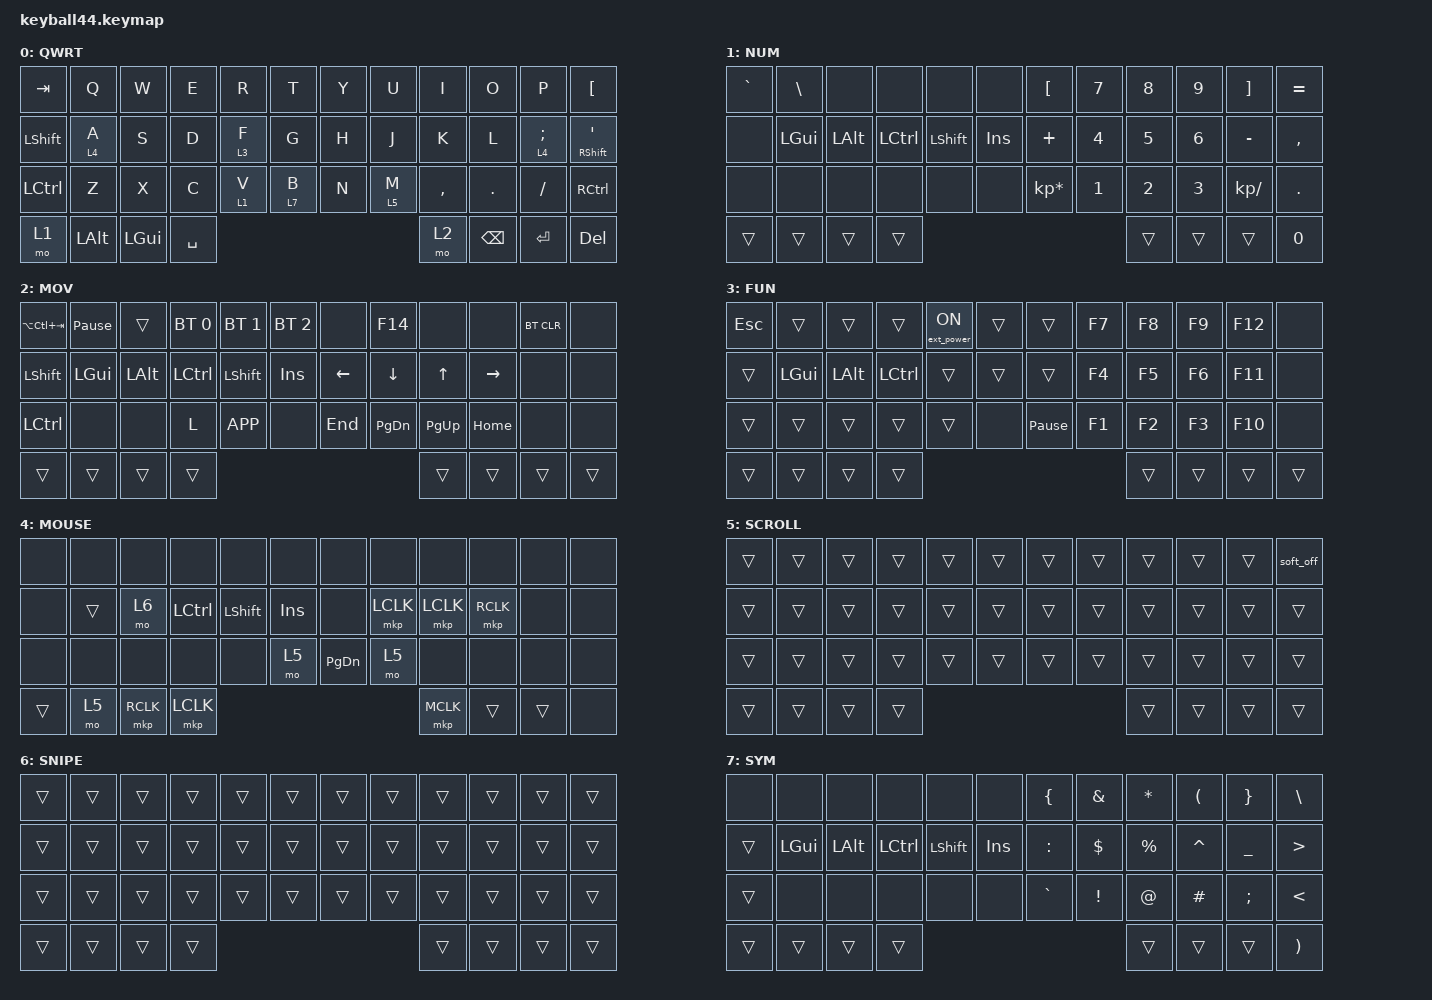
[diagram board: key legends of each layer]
#define DEFAULT 0
#define NUM     1
#define MOV     2
#define FUN     3
#define MOUSE   4
#define SCROLL  5
#define SNIPE   6
#define SYM     7

#include <behaviors/mouse_keys.dtsi>
#include <behaviors.dtsi>
#include <dt-bindings/zmk/bt.h>
#include <dt-bindings/zmk/keys.h>
#include <dt-bindings/zmk/mouse.h>
#include <dt-bindings/zmk/ext_power.h>

&lt {
    tapping-term-ms = <240>;
    flavor = "balanced";
    quick-tap-ms = <150>;
};

&mt {
    tapping-term-ms = <200>;
    flavor = "tap-preferred";
    quick-tap-ms = <150>;
};

&caps_word { continue-list = <UNDERSCORE MINUS>; };

// &soft_off {
//    hold-time-ms = <5000>; // Only turn off it the key is held for 5 seconds or longer.
// };

/ {
    // custom shift using mod-morph 

    behaviors {
        cmqus: comma_question {
            compatible = "zmk,behavior-mod-morph";
            label = "COMMA_QUESTION";
            #binding-cells = <0>;
            bindings = <&kp COMMA>, <&kp QUESTION>;

            mods = <(MOD_LSFT|MOD_RSFT)>;
        };

        dtsmi: dot_semi {
            compatible = "zmk,behavior-mod-morph";
            label = "DOT_SEMI";
            #binding-cells = <0>;
            bindings = <&kp DOT>, <&kp SEMI>;

            mods = <(MOD_LSFT|MOD_RSFT)>;
        };
    };

    keymap {
        compatible = "zmk,keymap";

        default_layer {
            label = "QWRT";
            bindings = <
&kp TAB      &kp Q     &kp W         &kp E        &kp R      &kp T                 &kp Y            &kp U  &kp I      &kp O    &kp P      &kp LBKT
&kp LEFT_SHIFT       &lt 4 A     &kp S         &kp D        &lt 3 F      &kp G                 &kp H            &kp J  &kp K      &kp L    &lt 4 SEMI   &mt RIGHT_SHIFT SQT
&kp LCTRL  &kp Z     &kp X         &kp C        &lt 1 V      &lt 7 B                 &kp N            &lt 5 M  &kp COMMA  &kp DOT  &kp SLASH  &kp RCTRL
&mo 1     &kp LALT                        &kp LGUI  &kp SPACE  &mo 2            &kp BACKSPACE  &kp ENTER                                        &kp DELETE
            >;
        };

        number_layer {
            label = "NUM";
            bindings = <
&kp GRAVE   &kp BSLH  &none         &none         &none         &none                     &kp LBKT           &kp NUMBER_7  &kp NUMBER_8  &kp NUMBER_9  &kp RBKT  &kp EQUAL
&none   &kp LGUI      &kp LALT      &kp LCTRL   &kp LSHIFT     &kp INS                    &kp PLUS           &kp NUMBER_4  &kp NUMBER_5  &kp NUMBER_6  &kp MINUS         &kp COMMA
&none   &none         &none         &none         &none         &none                     &kp KP_MULTIPLY    &kp NUMBER_1  &kp NUMBER_2  &kp NUMBER_3  &kp KP_DIVIDE     &kp DOT
&trans  &trans        &trans        &trans        &trans                          &trans  &trans                                                                &kp NUMBER_0
            >;
        };

        movement_layer {
            label = "MOV";
            bindings = <
&kp LA(LC(TAB)) &kp PAUSE_BREAK &trans   &bt BT_SEL 0  &bt BT_SEL 1  &bt BT_SEL 2        &none      &kp F14       &none       &none      &bt BT_CLR  &none
&kp LSHIFT      &kp LGUI     &kp LALT      &kp LCTRL     &kp LSHIFT    &kp INS               &kp LEFT   &kp DOWN    &kp UP      &kp RIGHT  &none  &none
&kp LCTRL       &none        &none         &kp L         &kp K_APP     &none                 &kp END    &kp PG_DN   &kp PG_UP   &kp HOME   &none  &none
&trans  &trans           &trans        &trans        &trans                         &trans  &trans                                          &trans
            >;
        };

        function_layer {
            label = "FUN";
            bindings = <
&kp ESC  &trans    &trans     &trans    &ext_power EP_ON   &trans             &trans  &kp F7  &kp F8  &kp F9  &kp F12  &none
&trans   &kp LGUI  &kp LALT   &kp LCTRL &trans   &trans             &trans  &kp F4  &kp F5  &kp F6  &kp F11   &none
&trans   &trans    &trans     &trans    &trans   &none              &kp PAUSE_BREAK   &kp F1  &kp F2   &kp F3  &kp F10  &none
&trans   &trans    &trans     &trans    &trans                      &trans  &trans                              &trans
            >;
        };

        mouse_layer {
            label = "MOUSE";
            bindings = <
&none   &none           &none          &none        &none     &none              &none         &none     &none  &none     &none     &none
&none   &trans  &mo 6  &kp LCTRL     &kp LSHIFT    &kp INS                       &none    &mkp LCLK  &mkp LCLK   &mkp RCLK  &none  &none
&none   &none           &none           &none         &none      &mo 5               &kp PAGE_DOWN  &mo 5      &none   &none      &none      &none
&trans  &mo 5          &mkp RCLK          &mkp LCLK        &mkp MCLK                         &trans  &trans                                                  &none
            >;
        };

        scroll_layer {
            label = "SCROLL";
            bindings = <
&trans  &trans  &trans  &trans  &trans  &trans              &trans  &trans  &trans  &trans  &trans  &soft_off
&trans  &trans  &trans  &trans  &trans  &trans              &trans  &trans  &trans  &trans  &trans  &trans
&trans  &trans  &trans  &trans  &trans  &trans              &trans  &trans  &trans  &trans  &trans  &trans
&trans  &trans  &trans  &trans  &trans              &trans  &trans                                  &trans
            >;
        };

        snipe_layer {
            label = "SNIPE";
            bindings = <
&trans  &trans  &trans  &trans  &trans  &trans              &trans  &trans  &trans  &trans  &trans  &trans
&trans  &trans  &trans  &trans  &trans  &trans              &trans  &trans  &trans  &trans  &trans  &trans
&trans  &trans  &trans  &trans  &trans  &trans              &trans  &trans  &trans  &trans  &trans  &trans
&trans  &trans  &trans  &trans  &trans              &trans  &trans                                  &trans
            >;
        };
        symbol_layer {
            label = "SYM";
            bindings = <
&none   &none  &none    &none         &none         &none                                  &kp LBRC           &kp AMPS   &kp ASTRK   &kp LPAR    &kp RBRC  &kp BSLH
&trans   &kp LGUI      &kp LALT      &kp LCTRL   &kp LSHIFT     &kp INS                    &kp COLON           &kp DOLLAR   &kp PRCNT   &kp CARET   &kp UNDER  &kp GT
&trans   &none         &none         &none         &none         &none                     &kp GRAVE    &kp EXCL    &kp AT  &kp HASH &kp SEMI   &kp LT
&trans  &trans        &trans        &trans        &trans                          &trans  &trans                                                                &kp RPAR
            >;
        };
    };
};
